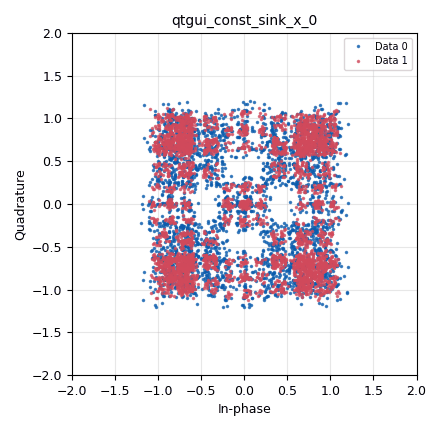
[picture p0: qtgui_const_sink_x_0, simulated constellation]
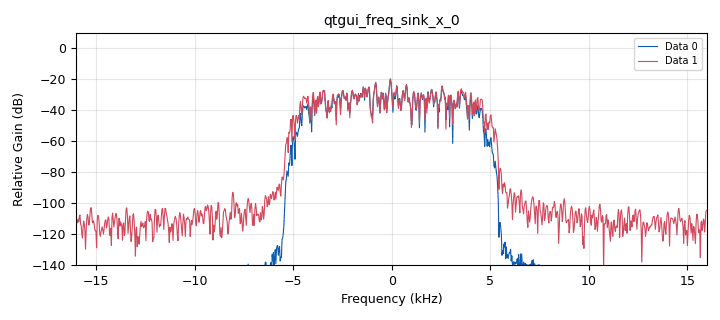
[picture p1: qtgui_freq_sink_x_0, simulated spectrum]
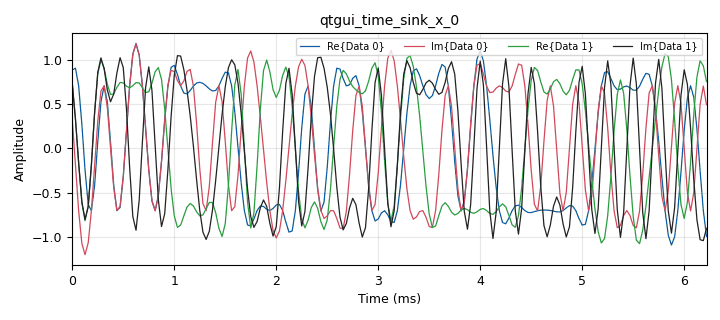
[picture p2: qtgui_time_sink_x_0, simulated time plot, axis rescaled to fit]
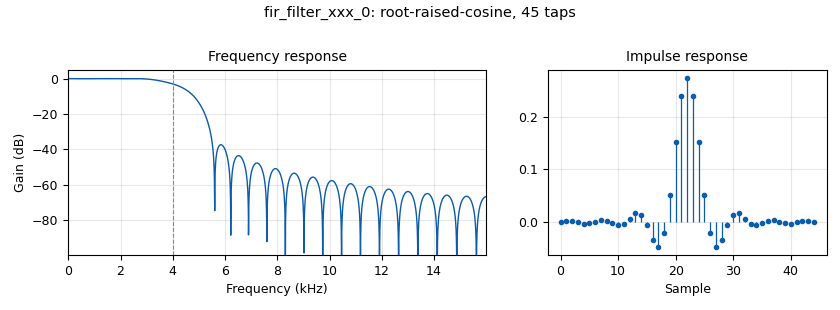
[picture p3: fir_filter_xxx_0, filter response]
<?xml version='1.0' encoding='utf-8'?>
<?grc format='1' created='3.7.10'?>
<flow_graph>
<block>
<key>options</key>
<param><key>id</key><value>top_block</value></param>
<param><key>generate_options</key><value>qt_gui</value></param>
</block>
<block>
<key>variable_rrc_filter_taps</key>
<param><key>id</key><value>rrc_taps</value></param>
<param><key>alpha</key><value>0.35</value></param>
<param><key>gain</key><value>1.0</value></param>
<param><key>ntaps</key><value>11*sps</value></param>
<param><key>samp_rate</key><value>samp_rate</value></param>
<param><key>sym_rate</key><value>samp_rate/4</value></param>
</block>
<block>
<key>variable</key>
<param><key>id</key><value>samp_rate</value></param>
<param><key>value</key><value>32000</value></param>
</block>
<block>
<key>variable</key>
<param><key>id</key><value>sps</value></param>
<param><key>value</key><value>4</value></param>
</block>
<block>
<key>variable_constellation_rect</key>
<param><key>id</key><value>variable_constellation_rect_0</value></param>
<param><key>const_points</key><value>[-1-1j, -1+1j, 1+1j, 1-1j]</value></param>
<param><key>imag_sect</key><value>2</value></param>
<param><key>real_sect</key><value>2</value></param>
<param><key>rot_sym</key><value>4</value></param>
<param><key>sym_map</key><value>[0, 1, 2,3]</value></param>
<param><key>w_imag_sect</key><value>1</value></param>
<param><key>w_real_sect</key><value>1</value></param>
</block>
<block>
<key>analog_random_source_x</key>
<param><key>id</key><value>analog_random_source_x_0</value></param>
<param><key>max</key><value>256</value></param>
<param><key>min</key><value>0</value></param>
<param><key>num_samps</key><value>1000</value></param>
<param><key>type</key><value>byte</value></param>
<param><key>repeat</key><value>True</value></param>
</block>
<block>
<key>blocks_message_source</key>
<param><key>id</key><value>blocks_message_source_0</value></param>
<param><key>type</key><value>complex</value></param>
<param><key>vlen</key><value>1</value></param>
</block>
<block>
<key>blocks_throttle</key>
<param><key>id</key><value>blocks_throttle_0</value></param>
<param><key>samples_per_second</key><value>samp_rate</value></param>
<param><key>type</key><value>complex</value></param>
</block>
<block>
<key>digital_constellation_modulator</key>
<param><key>id</key><value>digital_constellation_modulator_0</value></param>
<param><key>constellation</key><value>variable_constellation_rect_0</value></param>
<param><key>differential</key><value>True</value></param>
<param><key>excess_bw</key><value>0.35</value></param>
<param><key>samples_per_symbol</key><value>4</value></param>
</block>
<block>
<key>fir_filter_xxx</key>
<param><key>id</key><value>fir_filter_xxx_0</value></param>
<param><key>decim</key><value>1</value></param>
<param><key>taps</key><value>rrc_taps</value></param>
<param><key>type</key><value>ccc</value></param>
</block>
<block>
<key>qtgui_const_sink_x</key>
<param><key>id</key><value>qtgui_const_sink_x_0</value></param>
<param><key>nconnections</key><value>2</value></param>
<param><key>size</key><value>4096</value></param>
<param><key>type</key><value>complex</value></param>
<param><key>update_time</key><value>1</value></param>
</block>
<block>
<key>qtgui_freq_sink_x</key>
<param><key>id</key><value>qtgui_freq_sink_x_0</value></param>
<param><key>bw</key><value>samp_rate</value></param>
<param><key>fc</key><value>0</value></param>
<param><key>fftsize</key><value>1024</value></param>
<param><key>label2</key><value></value></param>
<param><key>nconnections</key><value>2</value></param>
<param><key>showports</key><value>True</value></param>
<param><key>type</key><value>complex</value></param>
<param><key>update_time</key><value>1</value></param>
<param><key>wintype</key><value>firdes.WIN_BLACKMAN_hARRIS</value></param>
</block>
<block>
<key>qtgui_time_sink_x</key>
<param><key>id</key><value>qtgui_time_sink_x_0</value></param>
<param><key>color1</key><value>"blue"</value></param>
<param><key>label1</key><value></value></param>
<param><key>color2</key><value>"red"</value></param>
<param><key>label2</key><value></value></param>
<param><key>color3</key><value>"green"</value></param>
<param><key>label3</key><value></value></param>
<param><key>color4</key><value>"black"</value></param>
<param><key>label4</key><value></value></param>
<param><key>nconnections</key><value>2</value></param>
<param><key>size</key><value>200</value></param>
<param><key>srate</key><value>samp_rate</value></param>
<param><key>type</key><value>complex</value></param>
<param><key>update_time</key><value>1</value></param>
</block>
<connection><source_block_id>analog_random_source_x_0</source_block_id><sink_block_id>digital_constellation_modulator_0</sink_block_id><source_key>0</source_key><sink_key>0</sink_key></connection>
<connection><source_block_id>blocks_throttle_0</source_block_id><sink_block_id>fir_filter_xxx_0</sink_block_id><source_key>0</source_key><sink_key>0</sink_key></connection>
<connection><source_block_id>blocks_throttle_0</source_block_id><sink_block_id>qtgui_const_sink_x_0</sink_block_id><source_key>0</source_key><sink_key>1</sink_key></connection>
<connection><source_block_id>blocks_throttle_0</source_block_id><sink_block_id>qtgui_freq_sink_x_0</sink_block_id><source_key>0</source_key><sink_key>1</sink_key></connection>
<connection><source_block_id>blocks_throttle_0</source_block_id><sink_block_id>qtgui_time_sink_x_0</sink_block_id><source_key>0</source_key><sink_key>1</sink_key></connection>
<connection><source_block_id>digital_constellation_modulator_0</source_block_id><sink_block_id>blocks_throttle_0</sink_block_id><source_key>0</source_key><sink_key>0</sink_key></connection>
<connection><source_block_id>fir_filter_xxx_0</source_block_id><sink_block_id>qtgui_const_sink_x_0</sink_block_id><source_key>0</source_key><sink_key>0</sink_key></connection>
<connection><source_block_id>fir_filter_xxx_0</source_block_id><sink_block_id>qtgui_freq_sink_x_0</sink_block_id><source_key>0</source_key><sink_key>0</sink_key></connection>
<connection><source_block_id>fir_filter_xxx_0</source_block_id><sink_block_id>qtgui_time_sink_x_0</sink_block_id><source_key>0</source_key><sink_key>0</sink_key></connection>
</flow_graph>
